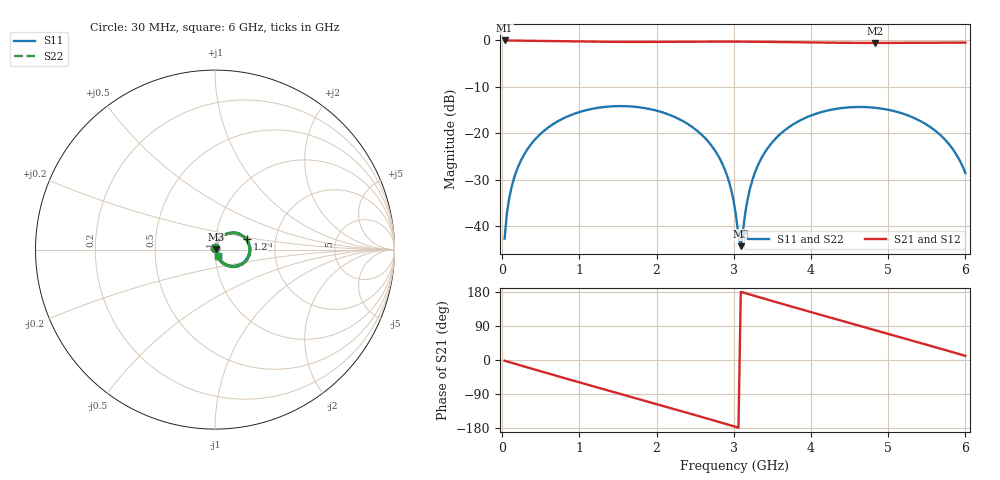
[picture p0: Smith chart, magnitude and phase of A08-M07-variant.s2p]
! yapnr Order 0 O0-M: O0-M A08 M0.7 30 (variant, family M0.7)
! stackup OSHPARK-4L-FR408HR, nominal parameters; geometry of the OSHPARK-4L-FR408HR design
! model: 2D quasi-static RLGC (Djordjevic-Sarkar, Huray roughness, Wheeler loss); generated by python -m yapnr.rf.coupons expected --stackup OSHPARK-4L-FR408HR --upload M
! reference planes 10 mm from each end; 50 ohm (from the M line's Zc)
# GHz S DB R 50
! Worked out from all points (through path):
!   200 points, 30 MHz to 6 GHz, reference 50 ohm
!   highest |S21| = -0.01 dB at 30 MHz (marker M1); lowest = -0.5 dB at 4.83 GHz (marker M2)
!   group delay of S21, straight-line fit = 161 ps
!   lowest |S11| = -44.3 dB at 3.09 GHz (marker M3), VSWR 1.01, Z = 50.6 + j0.0766 ohm
!   |S11| at or under -10 dB: start of sweep to end of sweep
!   |S22| runs from -44.3 to -14.1 dB; largest |S21 - S12| = 0
!   S11 on the Smith chart (normalised r, x): 30 MHz: 1.00, +0.01; 1.2 GHz: 1.42, +0.17; 6 GHz: 1.03, -0.07
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0.03  -42.64 76.6  -0.01 -1.9  -0.01 -1.9  -42.64 76.6
0.06  -37.19 77.9  -0.02 -3.7  -0.02 -3.7  -37.19 77.9
0.12  -31.57 76.7  -0.03 -7.3  -0.03 -7.3  -31.57 76.7
0.3  -24.08 68.2  -0.07 -18.1  -0.07 -18.1  -24.08 68.2
0.6  -18.68 51.6  -0.14 -35.8  -0.14 -35.8  -18.68 51.6
1.05  -15.17 26.3  -0.25 -62.0  -0.25 -62.0  -15.17 26.3
1.2  -14.61 17.9  -0.28 -70.6  -0.28 -70.6  -14.61 17.9
1.62  -14.17 -5.5  -0.33 -94.6  -0.33 -94.6  -14.17 -5.5
2.04  -15.31 -28.8  -0.32 -118.7  -0.32 -118.7  -15.31 -28.8
2.73  -23.08 -65.5  -0.27 -158.9  -0.27 -158.9  -23.08 -65.5
2.91  -28.97 -71.1  -0.26 -169.6  -0.26 -169.6  -28.97 -71.1
3.03  -37.93 -59.3  -0.27 -176.7  -0.27 -176.7  -37.93 -59.3
3.09  -44.27 7.1  -0.27 179.8  -0.27 179.8  -44.27 7.1
3.21  -31.83 68.0  -0.28 172.6  -0.28 172.6  -31.83 68.0
3.36  -25.27 66.6  -0.30 163.8  -0.30 163.8  -25.27 66.6
3.63  -19.74 54.1  -0.36 147.9  -0.36 147.9  -19.74 54.1
4.02  -16.04 33.1  -0.45 125.2  -0.45 125.2  -16.04 33.1
4.44  -14.47 10.2  -0.52 101.1  -0.52 101.1  -14.47 10.2
4.83  -14.49 -11.0  -0.55 78.9  -0.55 78.9  -14.49 -11.0
5.01  -14.96 -20.8  -0.55 68.6  -0.55 68.6  -14.96 -20.8
5.64  -19.84 -53.6  -0.49 32.1  -0.49 32.1  -19.84 -53.6
6  -28.53 -63.7  -0.48 10.9  -0.48 10.9  -28.53 -63.7
